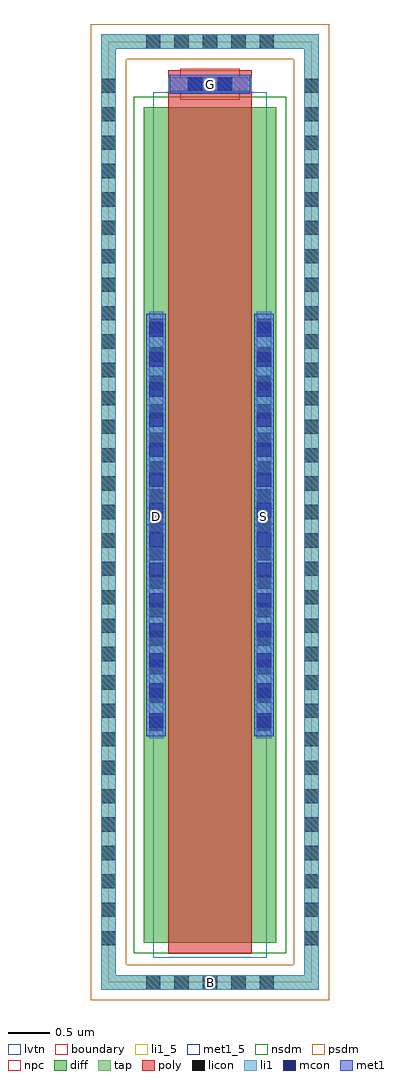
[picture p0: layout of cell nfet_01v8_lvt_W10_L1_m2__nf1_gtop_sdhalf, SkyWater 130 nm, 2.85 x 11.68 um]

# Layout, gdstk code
import gdstk
lib = gdstk.Library(unit=1e-6, precision=1e-09)
def R(c, l, rs):  # rectangles x0, y0, x1, y1
    for r in rs: c.add(gdstk.rectangle(r[:2], r[2:], *l))
def A(c, l, x, y, w, h, nx, ny, dx, dy):  # array of equal rectangles
    R(c, l, [(x+i*dx, y+j*dy, x+i*dx+w, y+j*dy+h) for i in range(nx) for j in range(ny)])
diff = (65, 20)
tap = (65, 44)
poly = (66, 20)
licon = (66, 44)
li1_5 = (67, 5)
li1 = (67, 20)
mcon = (67, 44)
met1_5 = (68, 5)
met1 = (68, 20)
nsdm = (93, 44)
psdm = (94, 20)
npc = (95, 20)
lvtn = (125, 44)
boundary = (235, 4)

sky130_fd_pr__nfet_01v8_ = lib.new_cell('sky130_fd_pr__nfet_01v8_lvt_EE54DQ')
R(sky130_fd_pr__nfet_01v8_, diff, [(-0.79,-5.155,0.79,4.845)])
R(sky130_fd_pr__nfet_01v8_, tap, [(-1.3,-5.715,1.3,-5.545), (-1.3,-5.545,-1.13,5.545), (1.13,-5.545,1.3,5.545), (-1.3,5.545,1.3,5.715)])
R(sky130_fd_pr__nfet_01v8_, poly, [(-0.5,-5.285,0.5,5.285)])
A(sky130_fd_pr__nfet_01v8_, licon, -0.765, -5.715, 0.17, 0.17, 5, 2, 0.34, 11.26)
A(sky130_fd_pr__nfet_01v8_, licon, -1.3, -5.185, 0.17, 0.17, 1, 31, 0, 0.34)
A(sky130_fd_pr__nfet_01v8_, licon, 1.13, -5.185, 0.17, 0.17, 1, 31, 0, 0.34)
A(sky130_fd_pr__nfet_01v8_, licon, -0.73, -2.62, 0.17, 0.17, 1, 15, 0, 0.34)
A(sky130_fd_pr__nfet_01v8_, licon, 0.56, -2.62, 0.17, 0.17, 1, 15, 0, 0.34)
R(sky130_fd_pr__nfet_01v8_, licon, [(-0.255,5.035,-0.085,5.205), (0.085,5.035,0.255,5.205)])
R(sky130_fd_pr__nfet_01v8_, li1, [(-1.3,-5.715,1.3,-5.545), (-1.3,-5.545,-1.13,5.545), (1.13,-5.545,1.3,5.545), (-0.73,-2.705,-0.56,2.395), (0.56,-2.705,0.73,2.395), (-0.5,5.035,0.5,5.205), (-1.3,5.545,1.3,5.715)])
A(sky130_fd_pr__nfet_01v8_, mcon, -0.73, -2.58, 0.17, 0.17, 1, 14, 0, 0.36)
A(sky130_fd_pr__nfet_01v8_, mcon, 0.56, -2.58, 0.17, 0.17, 1, 14, 0, 0.36)
R(sky130_fd_pr__nfet_01v8_, mcon, [(-0.265,5.035,-0.095,5.205), (0.095,5.035,0.265,5.205)])
R(sky130_fd_pr__nfet_01v8_, met1, [(-0.76,-2.685,-0.53,2.375), (0.53,-2.685,0.76,2.375), (-0.48,5.005,0.48,5.235)])
R(sky130_fd_pr__nfet_01v8_, nsdm, [(-0.915,-5.28,0.915,4.97)])
R(sky130_fd_pr__nfet_01v8_, psdm, [(-1.425,-5.84,1.425,-5.42), (-1.425,-5.42,-1.005,5.42), (1.005,-5.42,1.425,5.42), (-1.425,5.42,1.425,5.84)])
R(sky130_fd_pr__nfet_01v8_, npc, [(-0.355,4.935,0.355,5.305)])
R(sky130_fd_pr__nfet_01v8_, lvtn, [(-0.68,-5.335,0.68,5.025)])
R(sky130_fd_pr__nfet_01v8_, boundary, [(-1.215,-5.63,1.215,5.63)])
sky130_fd_pr__nfet_01v8_.add(gdstk.Label('B', (0,-5.63), layer=67, texttype=5))
sky130_fd_pr__nfet_01v8_.add(gdstk.Label('D', (-0.645,-0.155), layer=67, texttype=5))
sky130_fd_pr__nfet_01v8_.add(gdstk.Label('S', (0.645,-0.155), layer=67, texttype=5))
sky130_fd_pr__nfet_01v8_.add(gdstk.Label('G', (0,5.12), layer=67, texttype=5))

nfet_01v8_lvt_w10_l1_m2_ = lib.new_cell('nfet_01v8_lvt_W10_L1_m2__nf1_gtop_sdhalf')
R(nfet_01v8_lvt_w10_l1_m2_, li1_5, [(1.13,-0.085,1.3,0.085)])
R(nfet_01v8_lvt_w10_l1_m2_, li1, [(1.13,-0.085,1.3,0.085)])
R(nfet_01v8_lvt_w10_l1_m2_, met1_5, [(0.455,5.475,0.685,5.675), (1.745,5.475,1.975,5.675), (0.735,10.635,1.695,10.865)])
R(nfet_01v8_lvt_w10_l1_m2_, met1, [(0.455,5.475,0.685,5.675), (1.745,5.475,1.975,5.675), (0.735,10.635,1.695,10.865)])
nfet_01v8_lvt_w10_l1_m2_.add(gdstk.Reference(sky130_fd_pr__nfet_01v8_, (1.215,5.63)))
nfet_01v8_lvt_w10_l1_m2_.add(gdstk.Label('D', (0.57,5.575), layer=68, texttype=5))
nfet_01v8_lvt_w10_l1_m2_.add(gdstk.Label('S', (1.86,5.575), layer=68, texttype=5))
nfet_01v8_lvt_w10_l1_m2_.add(gdstk.Label('G', (1.215,10.75), layer=68, texttype=5))
nfet_01v8_lvt_w10_l1_m2_.add(gdstk.Label('B', (1.215,0), layer=67, texttype=5))

lib.write_gds('nfet_01v8_lvt_W10_L1_m2__nf1_gtop_sdhalf.gds')
